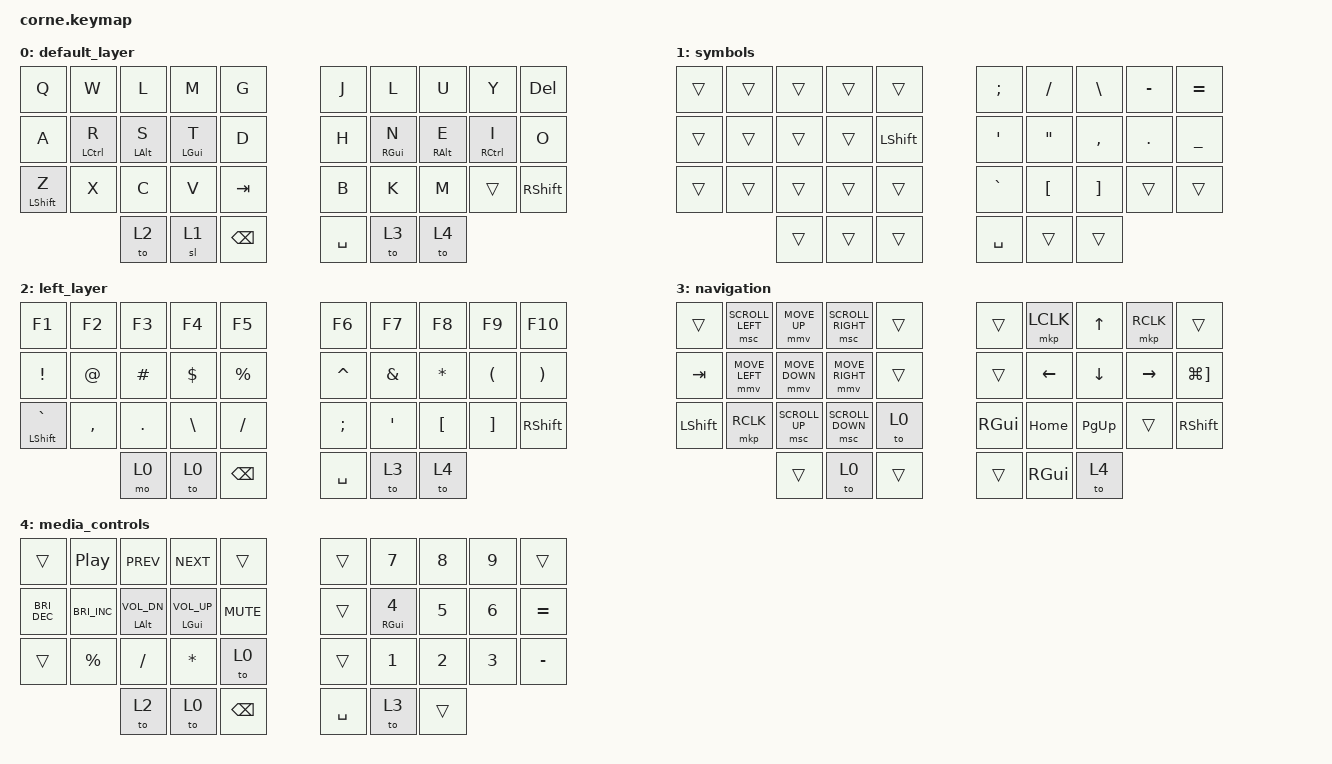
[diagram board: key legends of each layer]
/*
 * Copyright (c) 2020 The ZMK Contributors
 *
 * SPDX-License-Identifier: MIT
 */

#include <dt-bindings/zmk/mouse.h>
#include <behaviors.dtsi>
#include <dt-bindings/zmk/keys.h>

&mt {
    flavor = "tap-preferred";
    tapping_term_ms = <200>;
};

/ {
    combos { compatible = "zmk,combos"; };

    behaviors {
        hm: left_positional_hold_tap {
            compatible = "zmk,behavior-hold-tap";
            #binding-cells = <2>;
            flavor = "tap-unless-interrupted";
            tapping-term-ms = <100>;                        // <---[[produces tap if held longer than tapping-term-ms]]
            quick-tap-ms = <200>;
            bindings = <&kp>, <&kp>;
            hold-trigger-key-positions = <5 6 7 8 9 10>;    // <---[[right-hand keys]]
        };

        hs: homerow_shifts {
            compatible = "zmk,behavior-hold-tap";
            label = "HOMEROW_SHIFTS";
            #binding-cells = <2>;
            tapping-term-ms = <150>;
            quick_tap_ms = <0>;
            flavor = "balanced";
            bindings = <&kp>, <&kp>;
        };

        hsl: homerow_shifts_layer {
            compatible = "zmk,behavior-hold-tap";
            label = "HOMEROW_SHIFTS_LAYER";
            #binding-cells = <2>;
            tapping-term-ms = <150>;
            quick_tap_ms = <0>;
            flavor = "balanced";
            bindings = <&kp>, <&to>;
        };

        td: tapdance {
            compatible = "zmk,behavior-hold-tap";
            label = "TAPDANCE";
            #binding-cells = <2>;
            tapping-term-ms = <150>;
            quick_tap_ms = <0>;
            flavor = "tap-preferred";
            bindings = <&kp>, <&kp>;
        };

        bl: layertap {
            compatible = "zmk,behavior-hold-tap";
            label = "LAYERTAP";
            #binding-cells = <2>;
            tapping-term-ms = <150>;
            quick_tap_ms = <0>;
            flavor = "tap-preferred";
            bindings = <&to>, <&kp>;
        };
    };

    keymap {
        compatible = "zmk,keymap";

        default_layer {
            bindings = <
  &kp Q         &kp W        &kp L       &kp M       &kp G            &kp J      &kp L       &kp U       &kp Y        &kp DELETE
  &kp A         &hm LCTRL R  &hm LALT S  &hm LGUI T  &kp D            &kp H      &hm RGUI N  &hm RALT E  &hm RCTRL I  &kp O
  &hm LSHIFT Z  &kp X        &kp C       &kp V       &kp TAB          &kp B      &kp K       &kp M       &trans       &kp RIGHT_SHIFT
                             &to 2       &sl 1       &kp BACKSPACE    &kp SPACE  &to 3       &to 4
            >;
        };

        symbols {
            bindings = <
  &trans  &trans  &trans  &trans  &trans            &kp SEMICOLON     &kp SLASH          &kp BACKSLASH      &kp MINUS   &kp EQUAL
  &trans  &trans  &trans  &trans  &kp LEFT_SHIFT    &kp SINGLE_QUOTE  &kp DOUBLE_QUOTES  &kp COMMA          &kp PERIOD  &kp UNDER
  &trans  &trans  &trans  &trans  &trans            &kp GRAVE         &kp LEFT_BRACKET   &kp RIGHT_BRACKET  &trans      &trans
                  &trans  &trans  &trans            &kp SPACE         &trans             &trans
            >;
        };

        left_layer {
            bindings = <
  &kp F1            &kp F2       &kp F3      &kp F4         &kp F5           &kp F6         &kp F7            &kp F8            &kp F9                &kp F10
  &kp EXCLAMATION   &kp AT_SIGN  &kp HASH    &kp DOLLAR     &kp PERCENT      &kp CARET      &kp AMPERSAND     &kp ASTERISK      &kp LEFT_PARENTHESIS  &kp RIGHT_PARENTHESIS
  &hm LSHIFT GRAVE  &kp COMMA    &kp PERIOD  &kp BACKSLASH  &kp SLASH        &kp SEMICOLON  &kp SINGLE_QUOTE  &kp LEFT_BRACKET  &kp RBKT              &kp RSHIFT
                                 &mo 0       &to 0          &kp BACKSPACE    &kp SPACE      &to 3             &to 4
            >;
        };

        navigation {
            bindings = <
  &trans      &msc SCROLL_LEFT  &mmv MOVE_UP    &msc SCROLL_RIGHT  &trans    &trans    &mkp LCLK       &kp UP_ARROW  &mkp RCLK  &trans
  &kp TAB     &mmv MOVE_LEFT    &mmv MOVE_DOWN  &mmv MOVE_RIGHT    &trans    &trans    &kp LEFT        &kp DOWN      &kp RIGHT  &kp LG(RBKT)
  &kp LSHIFT  &mkp RCLK         &msc SCROLL_UP  &msc SCROLL_DOWN   &to 0     &kp RGUI  &kp HOME        &kp PAGE_UP   &trans     &kp RSHIFT
                                &trans          &to 0              &trans    &trans    &kp RGUI        &to 4
            >;
        };

        media_controls {
            bindings = <
  &trans                &kp C_PP              &kp C_PREV         &kp C_NEXT         &trans           &trans     &kp N7       &kp N8  &kp N9        &trans
  &kp C_BRIGHTNESS_DEC  &kp C_BRIGHTNESS_INC  &hm LALT C_VOL_DN  &hm LGUI C_VOL_UP  &kp K_MUTE       &trans     &hm RGUI N4  &kp N5  &kp N6        &kp EQUAL
  &trans                &kp PRCNT             &kp SLASH          &kp STAR           &to 0            &trans     &kp N1       &kp N2  &kp NUMBER_3  &kp MINUS
                                              &to 2              &to 0              &kp BACKSPACE    &kp SPACE  &to 3        &trans
            >;
        };
    };
};
